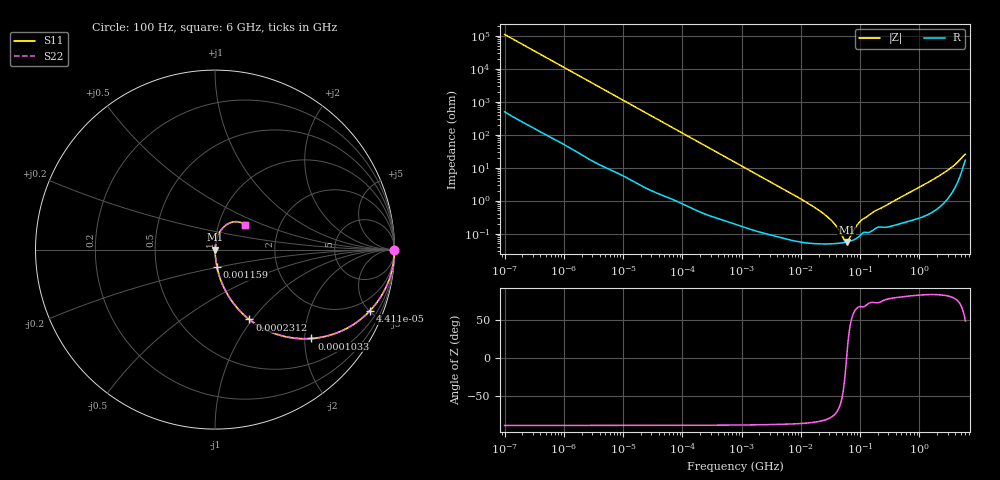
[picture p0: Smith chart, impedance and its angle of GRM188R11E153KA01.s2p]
!Murata Part Number: GRM188R11E153KA01
!These Parameters are Measured in Series Mode Connection
!Data Generated on Mar 30, 2021
!  o--ll--o
!Port1  Port2
!  o------o
!Operation Temp=25[degC], DC Bias Voltage=0[V]
!Freq. Start=100[Hz] Stop=6[GHz] 401[Steps]
# Hz S RI R 50
!Freq.(Hz) S11(Real) S11(Imag) S21(Real) S21(Imag) S12(Real) S12(Imag) S22(Real) S22(Imag)
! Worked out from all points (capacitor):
!   401 points, 100 Hz to 6 GHz, reference 50 ohm
!   read as one part in series: C = 14.6 nF near 109 Hz
!   lowest |Z| = 55.4 mohm at 59.6 MHz (marker M1)
!   series resonance near 59.24 MHz, so ESL is about 500 pH
!   S11 on the Smith chart (normalised r, x): 100 Hz: open; 44.11 kHz: 1.03, -5.03; 103.3 kHz: 1.02, -2.16; 231.2 kHz: 1.01, -0.97; 1.159 MHz: 1.00, -0.19; 6 GHz: 1.34, +0.39
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100  1 -0.000917  5e-06 0.000917  5e-06 0.000917  1 -0.000917
2008  0.9996 -0.0183  0.000414 0.0183  0.000414 0.0183  0.9996 -0.0183
11514  0.9887 -0.1029  0.0113 0.1029  0.0113 0.1029  0.9887 -0.1029
40335  0.8818 -0.3199  0.1182 0.3199  0.1182 0.3199  0.8818 -0.3199
44113  0.8621 -0.3419  0.1379 0.3419  0.1379 0.3419  0.8621 -0.3419
103284  0.5373 -0.495  0.4627 0.495  0.4627 0.495  0.5373 -0.495
231233  0.1913 -0.3892  0.8087 0.3892  0.8087 0.3892  0.1913 -0.3892
395726  0.0764 -0.2606  0.9236 0.2606  0.9236 0.2606  0.0764 -0.2606
774597  0.0224 -0.1416  0.9776 0.1416  0.9776 0.1416  0.0224 -0.1416
1159002  0.0108 -0.0961  0.9892 0.0961  0.9892 0.0961  0.0108 -0.0961
1.555665e7  0.000547 -0.00689  0.9995 0.00689  0.9995 0.00689  0.000547 -0.00689
3.330331e7  0.000495 -0.00237  0.9995 0.00237  0.9995 0.00237  0.000495 -0.00237
4.165952e7  0.000505 -0.0014  0.9995 0.0014  0.9995 0.0014  0.000505 -0.0014
5.449875e7  0.000536 -0.000326  0.9995 0.000326  0.9995 0.000326  0.000536 -0.000326
5.960426e7  0.000553 2.44e-05  0.9994 -2.44e-05  0.9994 -2.44e-05  0.000553 2.44e-05
6.518806e7  0.000575 0.000376  0.9994 -0.000376  0.9994 -0.000376  0.000575 0.000376
8.527865e7  0.000696 0.00147  0.9993 -0.00147  0.9993 -0.00147  0.000696 0.00147
1.066761e8  0.000978 0.00239  0.999 -0.00239  0.999 -0.00239  0.000978 0.00239
3.124326e8  0.00167 0.00795  0.9983 -0.00795  0.9983 -0.00795  0.00167 0.00795
3.205649e9  0.0205 0.0862  0.9795 -0.0862  0.9795 -0.0862  0.0205 0.0862
4.586474e9  0.0592 0.1353  0.9408 -0.1353  0.9408 -0.1353  0.0592 0.1353
6e9  0.1669 0.1374  0.8331 -0.1374  0.8331 -0.1374  0.1669 0.1374
